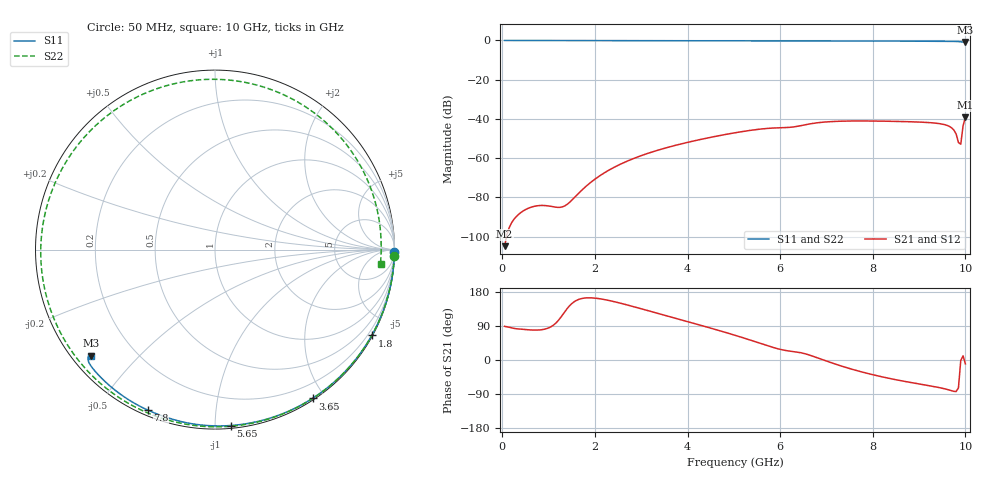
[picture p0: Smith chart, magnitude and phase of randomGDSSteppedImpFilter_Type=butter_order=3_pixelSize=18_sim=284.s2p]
! freq	dB(S11)	phase(S11)	dB(S12)	phase(S12)
!  dB(S21)	phase(S21)	dB(S22)	phase(S22)
!S-par simulation data
#  GHz  S  DB  R 50
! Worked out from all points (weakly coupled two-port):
!   200 points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, 50 MHz to 10 GHz, reference 50 ohm
!   highest |S21| = -39.15 dB at 10 GHz (marker M1); lowest = -104.9 dB at 50 MHz (marker M2)
!   lowest |S11| = -0.8 dB at 10 GHz (marker M3), VSWR 21.42, Z = 2.65 - j18.4 ohm
!   |S11| at or under -10 dB: nowhere
!   |S22| runs from -0.7 to 0.0 dB; largest |S21 - S12| = 0
!   S11 on the Smith chart (normalised r, x): 50 MHz: open; 1.8 GHz: 0.03, -3.91; 3.65 GHz: 0.02, -1.85; 5.65 GHz: 0.02, -1.09; 7.8 GHz: 0.02, -0.67; 10 GHz: 0.05, -0.37
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0.05  -0.00 -0.8  -104.92 88.8  -104.92 88.8  -0.00 -1.9
0.75  -0.01 -12.1  -84.34 79.0  -84.34 79.0  -0.03 -28.1
1.55  -0.03 -24.8  -80.29 153.5  -80.29 153.5  -0.07 -57.1
1.75  -0.04 -27.9  -75.62 163.0  -75.62 163.0  -0.08 -64.2
1.8  -0.04 -28.7  -74.55 163.8  -74.55 163.8  -0.08 -65.9
2.45  -0.05 -38.8  -64.28 153.0  -64.28 153.0  -0.11 -88.0
3.4  -0.07 -53.1  -55.69 121.6  -55.69 121.6  -0.15 -118.8
3.65  -0.08 -56.8  -54.04 113.1  -54.04 113.1  -0.16 -126.6
4.35  -0.10 -66.9  -50.14 89.3  -50.14 89.3  -0.19 -148.5
5.05  -0.12 -76.7  -46.98 64.3  -46.98 64.3  -0.24 -170.4
5.65  -0.14 -84.9  -45.02 40.9  -45.02 40.9  -0.28 170.2
6.7  -0.19 -98.8  -42.33 10.2  -42.33 10.2  -0.36 133.7
7.3  -0.24 -106.5  -41.19 -15.1  -41.19 -15.1  -0.41 110.9
7.8  -0.27 -112.7  -41.06 -32.7  -41.06 -32.7  -0.46 90.6
8.35  -0.31 -119.6  -41.21 -48.4  -41.21 -48.4  -0.50 67.1
9  -0.36 -127.7  -41.62 -63.2  -41.62 -63.2  -0.56 38.4
9.6  -0.44 -135.4  -43.29 -77.4  -43.29 -77.4  -0.63 12.0
9.75  -0.49 -137.5  -45.64 -82.7  -45.64 -82.7  -0.65 5.5
9.85  -0.57 -139.1  -52.04 -73.4  -52.04 -73.4  -0.67 1.2
9.9  -0.67 -139.8  -52.91 -1.2  -52.91 -1.2  -0.67 -0.9
9.95  -0.80 -139.9  -43.54 11.0  -43.54 11.0  -0.67 -3.0
10  -0.81 -139.5  -39.15 -10.3  -39.15 -10.3  -0.67 -5.0
